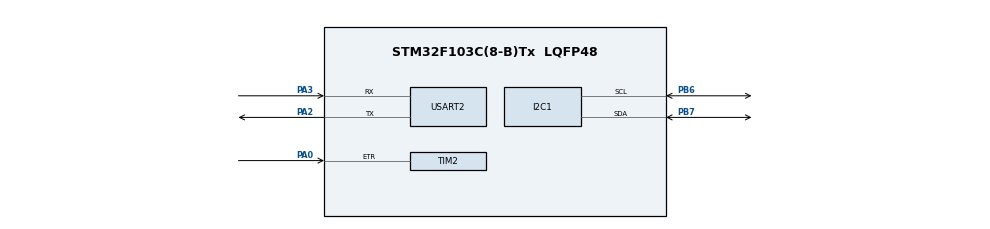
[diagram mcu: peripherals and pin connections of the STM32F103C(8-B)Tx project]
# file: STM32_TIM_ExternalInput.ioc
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Mcu.Family=STM32F1
Mcu.Name=STM32F103C(8-B)Tx
Mcu.Package=LQFP48
NVIC.PriorityGroup=NVIC_PRIORITYGROUP_4
PA0-WKUP.Signal=S_TIM2_CH1_ETR
PA13.Mode=Serial_Wire
PA13.Signal=SYS_JTMS-SWDIO
PA14.Mode=Serial_Wire
PA14.Signal=SYS_JTCK-SWCLK
PA2.Mode=Asynchronous
PA2.Signal=USART2_TX
PA3.Mode=Asynchronous
PA3.Signal=USART2_RX
PB6.Mode=I2C
PB6.Signal=I2C1_SCL
PB7.Mode=I2C
PB7.Signal=I2C1_SDA
PD0-OSC_IN.Mode=HSE-External-Oscillator
PD0-OSC_IN.Signal=RCC_OSC_IN
PD1-OSC_OUT.Mode=HSE-External-Oscillator
PD1-OSC_OUT.Signal=RCC_OSC_OUT
ProjectManager.HeapSize=0x200
ProjectManager.StackSize=0x400
ProjectManager.TargetToolchain=STM32CubeIDE
RCC.APB1Freq_Value=8000000
RCC.APB2Freq_Value=8000000
SH.S_TIM2_CH1_ETR.0=TIM2_ETR,ClockSourceETR_Mode2
TIM2.ClockFilter=15
USART2.VirtualMode=VM_ASYNC
board=custom

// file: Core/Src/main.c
/* USER CODE BEGIN Header */
/**
  ******************************************************************************
  * @file           : main.c
  * @brief          : Main program body
  ******************************************************************************
  * @attention
  *
  * Copyright (c) 2025 STMicroelectronics.
  * All rights reserved.
  *
  * This software is licensed under terms that can be found in the LICENSE file
  * in the root directory of this software component.
  * If no LICENSE file comes with this software, it is provided AS-IS.
  *
  ******************************************************************************
  */
/* USER CODE END Header */
#include "main.h"
#include "i2c.h"
#include "tim.h"
#include "usart.h"
#include "gpio.h"

/* USER CODE BEGIN Includes */
#include "oled.h"
#include "string.h"
#include "stdio.h"
/* USER CODE END Includes */

void SystemClock_Config(void);

int main(void)
{

  /* MCU Configuration--------------------------------------------------------*/

  /* Reset of all peripherals, Initializes the Flash interface and the Systick. */
  HAL_Init();

  /* Configure the system clock */
  SystemClock_Config();

  /* Initialize all configured peripherals */
  MX_GPIO_Init();
  MX_USART2_UART_Init();
  MX_TIM2_Init();
  MX_I2C1_Init();
  /* USER CODE BEGIN 2 */
    HAL_Delay(20);
    OLED_Init();
    OLED_Clean();
    HAL_TIM_Base_Start(&htim2);
    char message1[30];
    char message2[30];
    int counter=0;
    int preCounter=0;
    int difference=0;
  /* USER CODE END 2 */

  /* Infinite loop */
  /* USER CODE BEGIN WHILE */
  while (1)
  {
      OLED_NewFrame();
      preCounter=counter;
      counter=__HAL_TIM_GetCounter(&htim2);
      difference=counter-preCounter;
      sprintf(message1,"counter:%d",counter);
      sprintf(message2,"counter difference:%d",difference);
      OLED_PrintASCIIString(0,0,message1,&afont8x6,OLED_COLOR_NORMAL);
      OLED_PrintASCIIString(0,32,message2,&afont8x6,OLED_COLOR_NORMAL);
      OLED_ShowFrame();

    /* USER CODE END WHILE */

  }
}

void SystemClock_Config(void)
{
  RCC_OscInitTypeDef RCC_OscInitStruct = {0};
  RCC_ClkInitTypeDef RCC_ClkInitStruct = {0};

  /** Initializes the RCC Oscillators according to the specified parameters
  * in the RCC_OscInitTypeDef structure.
  */
  RCC_OscInitStruct.OscillatorType = RCC_OSCILLATORTYPE_HSI;
  RCC_OscInitStruct.HSIState = RCC_HSI_ON;
  RCC_OscInitStruct.HSICalibrationValue = RCC_HSICALIBRATION_DEFAULT;
  RCC_OscInitStruct.PLL.PLLState = RCC_PLL_NONE;
  if (HAL_RCC_OscConfig(&RCC_OscInitStruct) != HAL_OK)
  {
    Error_Handler();
  }

  /** Initializes the CPU, AHB and APB buses clocks
  */
  RCC_ClkInitStruct.ClockType = RCC_CLOCKTYPE_HCLK|RCC_CLOCKTYPE_SYSCLK
                              |RCC_CLOCKTYPE_PCLK1|RCC_CLOCKTYPE_PCLK2;
  RCC_ClkInitStruct.SYSCLKSource = RCC_SYSCLKSOURCE_HSI;
  RCC_ClkInitStruct.AHBCLKDivider = RCC_SYSCLK_DIV1;
  RCC_ClkInitStruct.APB1CLKDivider = RCC_HCLK_DIV1;
  RCC_ClkInitStruct.APB2CLKDivider = RCC_HCLK_DIV1;

  if (HAL_RCC_ClockConfig(&RCC_ClkInitStruct, FLASH_LATENCY_0) != HAL_OK)
  {
    Error_Handler();
  }
}

void Error_Handler(void)
{
  __disable_irq();
  while (1)
  {
  }
}
